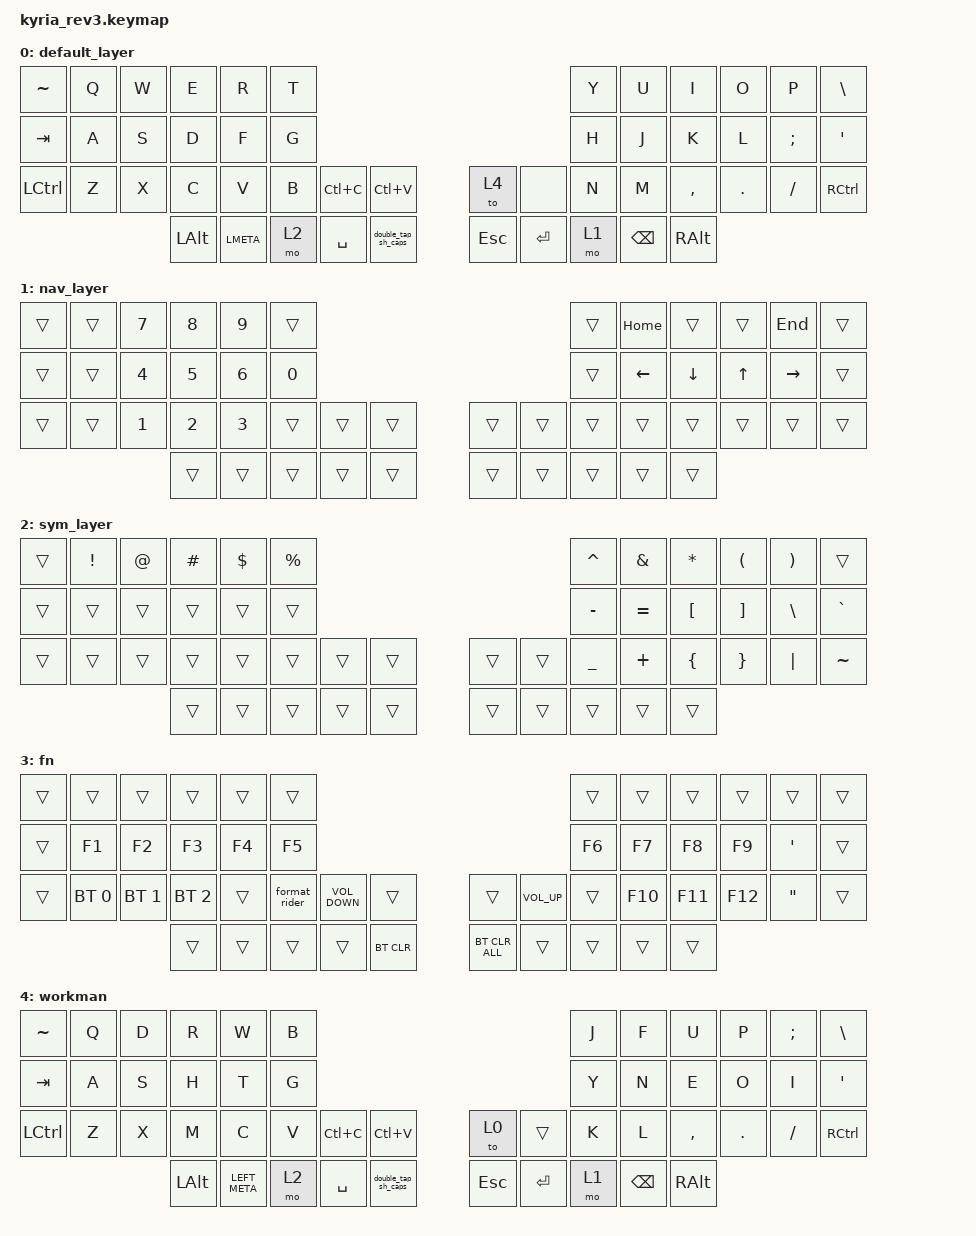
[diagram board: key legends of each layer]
#include <behaviors.dtsi>
#include <dt-bindings/zmk/bt.h>
#include <dt-bindings/zmk/keys.h>

/ {
    macros {
        format_rider: format_rider {
            compatible = "zmk,behavior-macro";
            #binding-cells = <0>;
            bindings = <&kp LC(LA(L))>;
            label = "FORMAT_RIDER";
        };
    };

    behaviors {
        double_tap_sh_caps: double_tap_sh_caps {
            compatible = "zmk,behavior-tap-dance";
            label = "Tap once to shift, twice for caps";
            #binding-cells = <0>;
            bindings = <&kp LEFT_SHIFT>, <&kp CAPSLOCK>;
        };
    };

    keymap {
        compatible = "zmk,keymap";

        default_layer {
            // ---------------------------------------------------------------------------------------------------------------------------------
            // |  ESC  |  Q  |  W  |  E   |  R   |  T   |                                          |  Y   |  U    |  I    |  O   |   P   |   \  |
            // |  TAB  |  A  |  S  |  D   |  F   |  G   |                                          |  H   |  J    |  K    |  L   |   ;   |   '  |
            // | SHIFT |  Z  |  X  |  C   |  V   |  B   | L SHIFT | L SHIFT |  | LAYER 1 | L SHIFT |  N   |  M    |  ,    |  .   |   /   | CTRL |
            //                     | GUI  | DEL  | RET  |  SPACE  |   ESC   |  |   RET   |  SPACE  | TAB  | BSPC  | R-ALT |

            bindings = <
&kp TILDE  &kp Q  &kp W  &kp E         &kp R      &kp T                                                         &kp Y  &kp U     &kp I          &kp O    &kp P     &kp BSLH
&kp TAB    &kp A  &kp S  &kp D         &kp F      &kp G                                                         &kp H  &kp J     &kp K          &kp L    &kp SEMI  &kp SQT
&kp LCTRL  &kp Z  &kp X  &kp C         &kp V      &kp B  &kp LC(C)  &kp LC(V)            &to 4       &none      &kp N  &kp M     &kp COMMA      &kp DOT  &kp FSLH  &kp RIGHT_CONTROL
                         &kp LEFT_ALT  &kp LMETA  &mo 2  &kp SPACE  &double_tap_sh_caps  &kp ESCAPE  &kp ENTER  &mo 1  &kp BSPC  &kp RIGHT_ALT
            >;
        };

        nav_layer {
            // ---------------------------------------------------------------------------------------------------------------------------------
            // |       |      |BT_CLR|BTSEL0|BTSEL1|BTSEL2|                                         |      |      |      |      |      |      |
            // |       |      |      |BTSEL3|BTSEL4|      |                                         |      |      |      |      |      |      |
            // |       |      |      |      |      |      |      |      |      |      |      |      |      |      |      |      |      |      |
            //                       |      |      |      |      |      |      |      |      |      |      |      |      |

            bindings = <
&trans  &trans  &kp NUMBER_7  &kp NUMBER_8  &kp NUMBER_9  &trans                                        &trans  &kp HOME        &trans          &trans        &kp END    &trans
&trans  &trans  &kp NUMBER_4  &kp NUMBER_5  &kp NUMBER_6  &kp NUMBER_0                                  &trans  &kp LEFT_ARROW  &kp DOWN_ARROW  &kp UP_ARROW  &kp RIGHT  &trans
&trans  &trans  &kp NUMBER_1  &kp NUMBER_2  &kp NUMBER_3  &trans        &trans  &trans  &trans  &trans  &trans  &trans          &trans          &trans        &trans     &trans
                              &trans        &trans        &trans        &trans  &trans  &trans  &trans  &trans  &trans          &trans
            >;
        };

        sym_layer {
            bindings = <
&trans  &kp EXCLAMATION  &kp AT_SIGN  &kp HASH  &kp DOLLAR  &kp PERCENT                                  &kp CARET       &kp AMPERSAND  &kp ASTERISK      &kp LEFT_PARENTHESIS  &kp RIGHT_PARENTHESIS  &trans
&trans  &trans           &trans       &trans    &trans      &trans                                       &kp MINUS       &kp EQUAL      &kp LEFT_BRACKET  &kp RIGHT_BRACKET     &kp BACKSLASH          &kp GRAVE
&trans  &trans           &trans       &trans    &trans      &trans       &trans  &trans  &trans  &trans  &kp UNDERSCORE  &kp PLUS       &kp LEFT_BRACE    &kp RIGHT_BRACE       &kp PIPE               &kp TILDE
                                      &trans    &trans      &trans       &trans  &trans  &trans  &trans  &trans          &trans         &trans
            >;
        };

        fn {
            bindings = <
&trans  &trans        &trans        &trans        &trans  &trans                                                                         &trans  &trans   &trans   &trans   &trans             &trans
&trans  &kp F1        &kp F2        &kp F3        &kp F4  &kp F5                                                                         &kp F6  &kp F7   &kp F8   &kp F9   &kp SQT            &trans
&trans  &bt BT_SEL 0  &bt BT_SEL 1  &bt BT_SEL 2  &trans  &format_rider  &kp C_VOLUME_DOWN  &trans      &trans          &kp C_VOLUME_UP  &trans  &kp F10  &kp F11  &kp F12  &kp DOUBLE_QUOTES  &trans
                                    &trans        &trans  &trans         &trans             &bt BT_CLR  &bt BT_CLR_ALL  &trans           &trans  &trans   &trans
            >;
        };

        workman {
            bindings = <
&kp TILDE         &kp Q  &kp D  &kp R         &kp W          &kp B                                                      &kp J  &kp F          &kp U          &kp P    &kp SEMI  &kp BSLH
&kp TAB           &kp A  &kp S  &kp H         &kp T          &kp G                                                      &kp Y  &kp N          &kp E          &kp O    &kp I     &kp SQT
&kp LEFT_CONTROL  &kp Z  &kp X  &kp M         &kp C          &kp V  &kp LC(C)  &kp LC(V)            &to 0    &trans     &kp K  &kp L          &kp COMMA      &kp DOT  &kp FSLH  &kp RIGHT_CONTROL
                                &kp LEFT_ALT  &kp LEFT_META  &mo 2  &kp SPACE  &double_tap_sh_caps  &kp ESC  &kp ENTER  &mo 1  &kp BACKSPACE  &kp RIGHT_ALT
            >;
        };
    };

    conditional_layers {
        compatible = "zmk,conditional-layers";

        fn {
            if-layers = <1 2>;
            then-layer = <3>;
        };
    };
};
